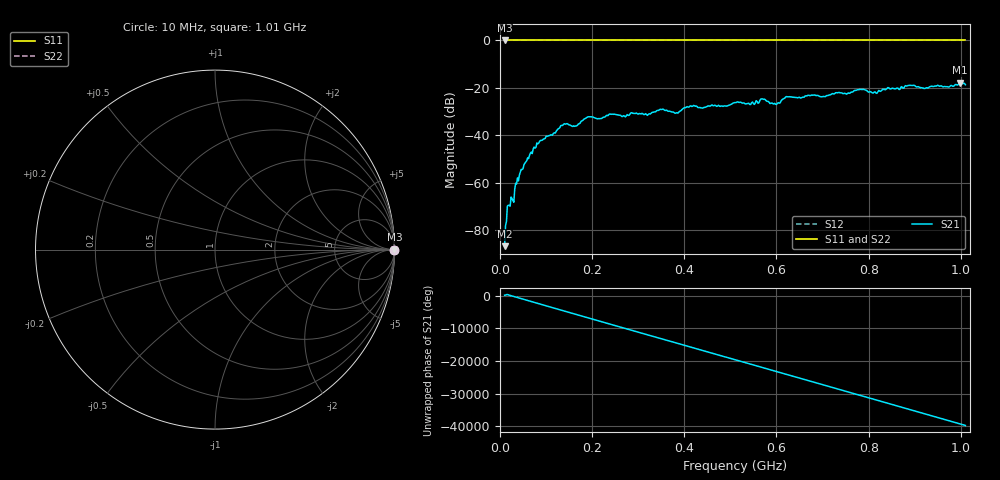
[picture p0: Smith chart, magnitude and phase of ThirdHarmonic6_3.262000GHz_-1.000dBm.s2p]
! 8/17/2025 10:04:13 AM
! C:\ANRITSUVNA\TEMP\TEMP.S2P
! CHANNEL.1
! TR.MEASUREMENT
! RAW.DATA
! RF.CORRECTION.OFF
! AVERAGING.OFF
! IF.BANDWIDTH: 5KHZ
! SWEEPTYPE:  FREQ.SWEEP(Linear)
! Reference Plane Port Info
! PORT:  PORT1  PORT2
! DISTANCE:  0  m  0  m
! TIME:  0  s  0  s
! PHASE.OFFSET:  0  deg.  0  deg.
! LOSS:  0  dB  0  dB
! REF.LOSS:  0  dB  0  dB
! REF.FREQ:  0  Hz  0  Hz
! Power Info
! POWER:  -20  dBm  -20  dBm
! EFF.POWER:  -20  dBm  -20  dBm
! SOURCE.ATTEN:  0  dB  0  dB
! TEST.ATTEN:  0  dB  0  dB
# GHZ S RI R 50.0
! FREQ.GHZ  S11RE  S11IM  S21RE  S21IM  S12RE  S12IM  S22RE  S22IM
!; PortSelection: Port_12
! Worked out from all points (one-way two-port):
!   501 points, 10 MHz to 1.01 GHz, reference 50 ohm
!   highest |S21| = -17.80 dB at 998 MHz (marker M1); lowest = -86.8 dB at 10 MHz (marker M2)
!   lowest |S11| = 0.0 dB at 10 MHz (marker M3)
!   |S11| at or under -10 dB: nowhere
!   |S22| runs from 0.0 to 0.0 dB; largest |S21 - S12| = 1.1
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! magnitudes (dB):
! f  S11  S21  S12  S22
! 10 MHz  0.0  -86.8  0.0  0.0
! 20 MHz  0.0  -69.6  0.0  0.0
! 26 MHz  0.0  -66.7  0.0  0.0
! 42 MHz  0.0  -56.8  0.0  0.0
! 76 MHz  0.0  -45.4  0.0  0.0
! 136 MHz  0.0  -35.9  0.0  0.0
! 162 MHz  0.0  -36.2  0.0  0.0
! 178 MHz  0.0  -33.9  0.0  0.0
! 194 MHz  0.0  -32.2  0.0  0.0
! 344 MHz  0.0  -29.5  0.0  0.0
! 382 MHz  0.0  -30.6  0.0  0.0
! 416 MHz  0.0  -27.8  0.0  0.0
! 510 MHz  0.0  -26.2  0.0  0.0
! 570 MHz  0.0  -24.7  0.0  0.0
! 598 MHz  0.0  -26.9  0.0  0.0
! 624 MHz  0.0  -23.8  0.0  0.0
! 678 MHz  0.0  -23.1  0.0  0.0
! 784 MHz  0.0  -20.7  0.0  0.0
! 814 MHz  0.0  -21.7  0.0  0.0
! 844 MHz  0.0  -20.0  0.0  0.0
! 998 MHz  0.0  -17.8  0.0  0.0
! 1.01 GHz  0.0  -18.7  0.0  0.0
